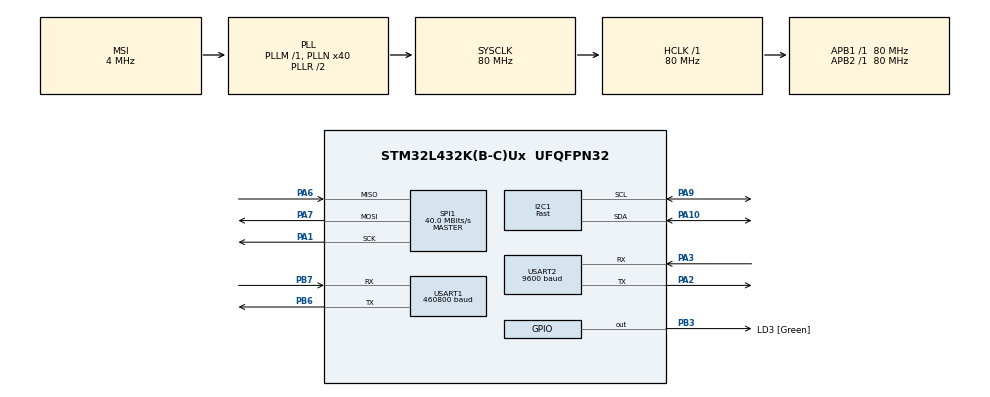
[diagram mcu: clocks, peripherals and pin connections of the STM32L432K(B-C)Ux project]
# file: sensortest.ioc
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Dma.I2C1_RX.0.Direction=DMA_PERIPH_TO_MEMORY
Dma.I2C1_RX.0.Instance=DMA1_Channel7
Dma.I2C1_RX.0.MemDataAlignment=DMA_MDATAALIGN_BYTE
Dma.I2C1_RX.0.MemInc=DMA_MINC_ENABLE
Dma.I2C1_RX.0.Mode=DMA_NORMAL
Dma.I2C1_RX.0.PeriphDataAlignment=DMA_PDATAALIGN_BYTE
Dma.I2C1_RX.0.PeriphInc=DMA_PINC_DISABLE
Dma.I2C1_RX.0.Priority=DMA_PRIORITY_LOW
Dma.Request0=I2C1_RX
FREERTOS.Tasks01=imuTask,2,128,ImuTask,Default
FREERTOS.configUSE_COUNTING_SEMAPHORES=1
I2C1.I2C_Speed_Mode=I2C_Fast
I2C1.Speed=400
I2C1.Timing=0x00702991
Mcu.Family=STM32L4
Mcu.Name=STM32L432K(B-C)Ux
Mcu.Package=UFQFPN32
NVIC.DMA1_Channel7_IRQn=true\:5\:0\:false\:false\:true\:true
NVIC.I2C1_EV_IRQn=true\:5\:0\:false\:false\:true\:true
NVIC.PriorityGroup=NVIC_PRIORITYGROUP_4
NVIC.TIM1_UP_TIM16_IRQn=true\:0\:0\:false\:false\:true\:false
NVIC.TimeBase=TIM1_UP_TIM16_IRQn
NVIC.TimeBaseIP=TIM1
NVIC.USART1_IRQn=true\:5\:0\:false\:false\:true\:true
NVIC.USART2_IRQn=true\:5\:0\:false\:false\:true\:true
PA0-CK_IN.GPIO_Label=MCO [High speed clock in]
PA0-CK_IN.Mode=HSE-External-Clock-Source-for-LittleOrca
PA0-CK_IN.Signal=RCC_CK_IN
PA1.Mode=Full_Duplex_Master
PA1.Signal=SPI1_SCK
PA10.Mode=I2C
PA10.Signal=I2C1_SDA
PA13\ (JTMS-SWDIO).GPIO_Label=SWDIO
PA13\ (JTMS-SWDIO).Mode=Serial_Wire
PA13\ (JTMS-SWDIO).Signal=SYS_JTMS-SWDIO
PA14\ (JTCK-SWCLK).GPIO_Label=SWCLK
PA14\ (JTCK-SWCLK).Mode=Serial_Wire
PA14\ (JTCK-SWCLK).Signal=SYS_JTCK-SWCLK
PA2.Mode=Asynchronous
PA2.Signal=USART2_TX
PA3.Mode=Asynchronous
PA3.Signal=USART2_RX
PA6.Mode=Full_Duplex_Master
PA6.Signal=SPI1_MISO
PA7.Mode=Full_Duplex_Master
PA7.Signal=SPI1_MOSI
PA9.Mode=I2C
PA9.Signal=I2C1_SCL
PB3\ (JTDO-TRACESWO).GPIO_Label=LD3 [Green]
PB3\ (JTDO-TRACESWO).Signal=GPIO_Output
PB6.Mode=Asynchronous
PB6.Signal=USART1_TX
PB7.Mode=Asynchronous
PB7.Signal=USART1_RX
PC14-OSC32_IN\ (PC14).Mode=LSE-External-Oscillator
PC14-OSC32_IN\ (PC14).Signal=RCC_OSC32_IN
PC15-OSC32_OUT\ (PC15).Mode=LSE-External-Oscillator
PC15-OSC32_OUT\ (PC15).Signal=RCC_OSC32_OUT
ProjectManager.HeapSize=0x200
ProjectManager.StackSize=0x400
ProjectManager.TargetToolchain=SW4STM32
RCC.AHBFreq_Value=80000000
RCC.APB1Freq_Value=80000000
RCC.APB1TimFreq_Value=80000000
RCC.APB2Freq_Value=80000000
RCC.APB2TimFreq_Value=80000000
RCC.CortexFreq_Value=80000000
RCC.HCLKFreq_Value=80000000
RCC.HSE_VALUE=8000000
RCC.HSI16_VALUE=16000000
RCC.HSI48_VALUE=48000000
RCC.HSI_VALUE=16000000
RCC.MSI_VALUE=4000000
RCC.PLLMUL=RCC_PLLMUL_4
RCC.PLLN=40
RCC.SYSCLKFreq_VALUE=80000000
RCC.SYSCLKSource=RCC_SYSCLKSOURCE_PLLCLK
RCC.VCOOutputFreq_Value=160000000
SPI1.CalculateBaudRate=40.0 MBits/s
SPI1.Mode=SPI_MODE_MASTER
USART1.BaudRate=460800
USART1.WordLength=UART_WORDLENGTH_8B
USART2.BaudRate=9600
USART2.WordLength=UART_WORDLENGTH_8B
VP_FREERTOS_VS_ENABLE.Mode=Enabled
VP_SYS_VS_tim1.Mode=TIM1
board=NUCLEO-L432KC

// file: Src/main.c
/**
  ******************************************************************************
  * File Name          : main.c
  * Description        : Main program body
  ******************************************************************************
  *
  * Copyright (c) 2017 STMicroelectronics International N.V.
  * All rights reserved.
  *
  * Redistribution and use in source and binary forms, with or without
  * modification, are permitted, provided that the following conditions are met:
  *
  * 1. Redistribution of source code must retain the above copyright notice,
  *    this list of conditions and the following disclaimer.
  * 2. Redistributions in binary form must reproduce the above copyright notice,
  *    this list of conditions and the following disclaimer in the documentation
  *    and/or other materials provided with the distribution.
  * 3. Neither the name of STMicroelectronics nor the names of other
  *    contributors to this software may be used to endorse or promote products
  *    derived from this software without specific written permission.
  * 4. This software, including modifications and/or derivative works of this
  *    software, must execute solely and exclusively on microcontroller or
  *    microprocessor devices manufactured by or for STMicroelectronics.
  * 5. Redistribution and use of this software other than as permitted under
  *    this license is void and will automatically terminate your rights under
  *    this license.
  *
  * THIS SOFTWARE IS PROVIDED BY STMICROELECTRONICS AND CONTRIBUTORS "AS IS"
  * AND ANY EXPRESS, IMPLIED OR STATUTORY WARRANTIES, INCLUDING, BUT NOT
  * LIMITED TO, THE IMPLIED WARRANTIES OF MERCHANTABILITY, FITNESS FOR A
  * PARTICULAR PURPOSE AND NON-INFRINGEMENT OF THIRD PARTY INTELLECTUAL PROPERTY
  * RIGHTS ARE DISCLAIMED TO THE FULLEST EXTENT PERMITTED BY LAW. IN NO EVENT
  * SHALL STMICROELECTRONICS OR CONTRIBUTORS BE LIABLE FOR ANY DIRECT, INDIRECT,
  * INCIDENTAL, SPECIAL, EXEMPLARY, OR CONSEQUENTIAL DAMAGES (INCLUDING, BUT NOT
  * LIMITED TO, PROCUREMENT OF SUBSTITUTE GOODS OR SERVICES; LOSS OF USE, DATA,
  * OR PROFITS; OR BUSINESS INTERRUPTION) HOWEVER CAUSED AND ON ANY THEORY OF
  * LIABILITY, WHETHER IN CONTRACT, STRICT LIABILITY, OR TORT (INCLUDING
  * NEGLIGENCE OR OTHERWISE) ARISING IN ANY WAY OUT OF THE USE OF THIS SOFTWARE,
  * EVEN IF ADVISED OF THE POSSIBILITY OF SUCH DAMAGE.
  *
  ******************************************************************************
  */
#include "main.h"
#include "stm32l4xx_hal.h"
#include "cmsis_os.h"
#include "dma.h"
#include "i2c.h"
#include "spi.h"
#include "usart.h"
#include "gpio.h"

/* USER CODE BEGIN PV */
/* Private variables ---------------------------------------------------------*/

/* USER CODE END PV */

void SystemClock_Config(void);
void Error_Handler(void);
void MX_FREERTOS_Init(void);

/* USER CODE BEGIN PFP */
/* Private function prototypes -----------------------------------------------*/

/* USER CODE END PFP */

/* USER CODE BEGIN 0 */
uint8_t receive1;
uint8_t receive2;
void HAL_UART_RxCpltCallback(UART_HandleTypeDef *huart) {
	if (huart->Instance == USART1) {
		HAL_GPIO_TogglePin(LD3_GPIO_Port, LD3_Pin);
		HAL_UART_Receive_IT(huart, (uint8_t*)&receive1, 1);
	}
	else if (huart->Instance == USART2) {
		HAL_UART_Transmit(&huart1, &receive2, 1, 10);
		HAL_UART_Receive_IT(huart, (uint8_t*)&receive2, 1);
	}
}
/* USER CODE END 0 */

int main(void)
{

  /* MCU Configuration----------------------------------------------------------*/

  /* Reset of all peripherals, Initializes the Flash interface and the Systick. */
  HAL_Init();

  /* Configure the system clock */
  SystemClock_Config();

  /* Initialize all configured peripherals */
  MX_GPIO_Init();
  MX_DMA_Init();
  MX_I2C1_Init();
  MX_SPI1_Init();
  MX_USART1_UART_Init();
  MX_USART2_UART_Init();

  /* Call init function for freertos objects (in freertos.c) */
  MX_FREERTOS_Init();

  /* Start scheduler */
  osKernelStart();

  /* We should never get here as control is now taken by the scheduler */

  /* Infinite loop */
  while (1)
  {

  }

}

/** System Clock Configuration
*/
void SystemClock_Config(void)
{

  RCC_OscInitTypeDef RCC_OscInitStruct;
  RCC_ClkInitTypeDef RCC_ClkInitStruct;
  RCC_PeriphCLKInitTypeDef PeriphClkInit;

    /**Initializes the CPU, AHB and APB busses clocks
    */
  RCC_OscInitStruct.OscillatorType = RCC_OSCILLATORTYPE_LSE|RCC_OSCILLATORTYPE_MSI;
  RCC_OscInitStruct.LSEState = RCC_LSE_ON;
  RCC_OscInitStruct.MSIState = RCC_MSI_ON;
  RCC_OscInitStruct.MSICalibrationValue = 0;
  RCC_OscInitStruct.MSIClockRange = RCC_MSIRANGE_6;
  RCC_OscInitStruct.PLL.PLLState = RCC_PLL_ON;
  RCC_OscInitStruct.PLL.PLLSource = RCC_PLLSOURCE_MSI;
  RCC_OscInitStruct.PLL.PLLM = 1;
  RCC_OscInitStruct.PLL.PLLN = 40;
  RCC_OscInitStruct.PLL.PLLP = RCC_PLLP_DIV7;
  RCC_OscInitStruct.PLL.PLLQ = RCC_PLLQ_DIV2;
  RCC_OscInitStruct.PLL.PLLR = RCC_PLLR_DIV2;
  if (HAL_RCC_OscConfig(&RCC_OscInitStruct) != HAL_OK)
  {
    Error_Handler();
  }

    /**Initializes the CPU, AHB and APB busses clocks
    */
  RCC_ClkInitStruct.ClockType = RCC_CLOCKTYPE_HCLK|RCC_CLOCKTYPE_SYSCLK
                              |RCC_CLOCKTYPE_PCLK1|RCC_CLOCKTYPE_PCLK2;
  RCC_ClkInitStruct.SYSCLKSource = RCC_SYSCLKSOURCE_PLLCLK;
  RCC_ClkInitStruct.AHBCLKDivider = RCC_SYSCLK_DIV1;
  RCC_ClkInitStruct.APB1CLKDivider = RCC_HCLK_DIV1;
  RCC_ClkInitStruct.APB2CLKDivider = RCC_HCLK_DIV1;

  if (HAL_RCC_ClockConfig(&RCC_ClkInitStruct, FLASH_LATENCY_4) != HAL_OK)
  {
    Error_Handler();
  }

  PeriphClkInit.PeriphClockSelection = RCC_PERIPHCLK_USART1|RCC_PERIPHCLK_USART2
                              |RCC_PERIPHCLK_I2C1;
  PeriphClkInit.Usart1ClockSelection = RCC_USART1CLKSOURCE_PCLK2;
  PeriphClkInit.Usart2ClockSelection = RCC_USART2CLKSOURCE_PCLK1;
  PeriphClkInit.I2c1ClockSelection = RCC_I2C1CLKSOURCE_PCLK1;
  if (HAL_RCCEx_PeriphCLKConfig(&PeriphClkInit) != HAL_OK)
  {
    Error_Handler();
  }

    /**Configure the main internal regulator output voltage
    */
  if (HAL_PWREx_ControlVoltageScaling(PWR_REGULATOR_VOLTAGE_SCALE1) != HAL_OK)
  {
    Error_Handler();
  }

    /**Configure the Systick interrupt time
    */
  HAL_SYSTICK_Config(HAL_RCC_GetHCLKFreq()/1000);

    /**Configure the Systick
    */
  HAL_SYSTICK_CLKSourceConfig(SYSTICK_CLKSOURCE_HCLK);

    /**Enable MSI Auto calibration
    */
  HAL_RCCEx_EnableMSIPLLMode();

  /* SysTick_IRQn interrupt configuration */
  HAL_NVIC_SetPriority(SysTick_IRQn, 15, 0);
}

void HAL_TIM_PeriodElapsedCallback(TIM_HandleTypeDef *htim)
{
  if (htim->Instance == TIM1) {
    HAL_IncTick();
  }
}

void Error_Handler(void)
{
  while(1)
  {
  }
}

/************************ (C) COPYRIGHT STMicroelectronics *****END OF FILE****/

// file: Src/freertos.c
/**
  ******************************************************************************
  * File Name          : freertos.c
  * Description        : Code for freertos applications
  ******************************************************************************
  *
  * Copyright (c) 2017 STMicroelectronics International N.V.
  * All rights reserved.
  *
  * Redistribution and use in source and binary forms, with or without
  * modification, are permitted, provided that the following conditions are met:
  *
  * 1. Redistribution of source code must retain the above copyright notice,
  *    this list of conditions and the following disclaimer.
  * 2. Redistributions in binary form must reproduce the above copyright notice,
  *    this list of conditions and the following disclaimer in the documentation
  *    and/or other materials provided with the distribution.
  * 3. Neither the name of STMicroelectronics nor the names of other
  *    contributors to this software may be used to endorse or promote products
  *    derived from this software without specific written permission.
  * 4. This software, including modifications and/or derivative works of this
  *    software, must execute solely and exclusively on microcontroller or
  *    microprocessor devices manufactured by or for STMicroelectronics.
  * 5. Redistribution and use of this software other than as permitted under
  *    this license is void and will automatically terminate your rights under
  *    this license.
  *
  * THIS SOFTWARE IS PROVIDED BY STMICROELECTRONICS AND CONTRIBUTORS "AS IS"
  * AND ANY EXPRESS, IMPLIED OR STATUTORY WARRANTIES, INCLUDING, BUT NOT
  * LIMITED TO, THE IMPLIED WARRANTIES OF MERCHANTABILITY, FITNESS FOR A
  * PARTICULAR PURPOSE AND NON-INFRINGEMENT OF THIRD PARTY INTELLECTUAL PROPERTY
  * RIGHTS ARE DISCLAIMED TO THE FULLEST EXTENT PERMITTED BY LAW. IN NO EVENT
  * SHALL STMICROELECTRONICS OR CONTRIBUTORS BE LIABLE FOR ANY DIRECT, INDIRECT,
  * INCIDENTAL, SPECIAL, EXEMPLARY, OR CONSEQUENTIAL DAMAGES (INCLUDING, BUT NOT
  * LIMITED TO, PROCUREMENT OF SUBSTITUTE GOODS OR SERVICES; LOSS OF USE, DATA,
  * OR PROFITS; OR BUSINESS INTERRUPTION) HOWEVER CAUSED AND ON ANY THEORY OF
  * LIABILITY, WHETHER IN CONTRACT, STRICT LIABILITY, OR TORT (INCLUDING
  * NEGLIGENCE OR OTHERWISE) ARISING IN ANY WAY OUT OF THE USE OF THIS SOFTWARE,
  * EVEN IF ADVISED OF THE POSSIBILITY OF SUCH DAMAGE.
  *
  ******************************************************************************
  */

#include "FreeRTOS.h"
#include "task.h"
#include "queue.h"
#include "cmsis_os.h"

/* USER CODE BEGIN Includes */
#include "gpio.h"
#include "i2c.h"
#include "usart.h"
#include "imu.h"

#include "gyro-l3gd20.h"
#include "accel-lsm303dlhc.h"

/* USER CODE END Includes */

osThreadId imuTaskHandle;

/* USER CODE BEGIN Variables */
TaskHandle_t ledTaskHandle;
TaskHandle_t imuTaskHandle;
TaskHandle_t usartTaskHandle;

QueueHandle_t ahrsOutputQueue;
QueueHandle_t usartQueue;
/* USER CODE END Variables */

void ImuTask(void const * argument);

void MX_FREERTOS_Init(void); /* (MISRA C 2004 rule 8.1) */

/* USER CODE BEGIN FunctionPrototypes */
void LEDTask(void *);
void USARTTask(void *);
/* USER CODE END FunctionPrototypes */

/* Hook prototypes */

/* Init FreeRTOS */

void MX_FREERTOS_Init(void) {

  /* Create the thread(s) */
  /* definition and creation of imuTask */
  osThreadDef(imuTask, ImuTask, osPriorityHigh, 0, 128);
  imuTaskHandle = osThreadCreate(osThread(imuTask), NULL);

  /* USER CODE BEGIN RTOS_THREADS */
  /* add threads, ... */
  xTaskCreate(USARTTask, "USARTTask", 128, (void *)1, tskIDLE_PRIORITY+1, &usartTaskHandle);
  //xTaskCreate(LEDTask, "LedBlink", 128, (void *)1, tskIDLE_PRIORITY, &ledTaskHandle);
  /* USER CODE END RTOS_THREADS */

}

/* ImuTask function */
void ImuTask(void const * argument)
{

  /* USER CODE BEGIN ImuTask */
  ImuInit(&hi2c1);

  while(1) {
	ImuRead();
	//osDelay(1);
  }
  /* USER CODE END ImuTask */
}

/* USER CODE BEGIN Application */
void LEDTask(void *pvParameters) {
  while(1) {
	HAL_GPIO_TogglePin(LD3_GPIO_Port, LD3_Pin);
	vTaskDelay(1);
  }
}

void USARTTask(void *pvParameters) {
	uint8_t queueItem[18];
	uint8_t outBuff[36+2];
	static uint8_t hexChars[] = "0123456789ABCDEF";
	int i,j;

	if ( (usartQueue = xQueueCreate(4, 18)) == NULL)
		return;

	if ( (ahrsOutputQueue = xQueueCreate(4, 4*sizeof(float))) == NULL)
		return;

	HAL_UART_Transmit(&huart1, (uint8_t*)"USARTTask init complete\r\n", 25, 10);

	while(1) {
		if (xQueueReceive(usartQueue, queueItem, 10) != pdPASS)
			continue;

		for (i=0,j=0; i<18; i++) {
			uint16_t t = queueItem[i];
			outBuff[j++] = hexChars[(t>>4)&0xF];
			outBuff[j++] = hexChars[t & 0xf];
		}
		outBuff[j++] = '\r';
		outBuff[j++] = '\n';
		HAL_UART_Transmit(&huart1, outBuff, 36+2, 10);
	}
}
/* USER CODE END Application */

/************************ (C) COPYRIGHT STMicroelectronics *****END OF FILE****/
